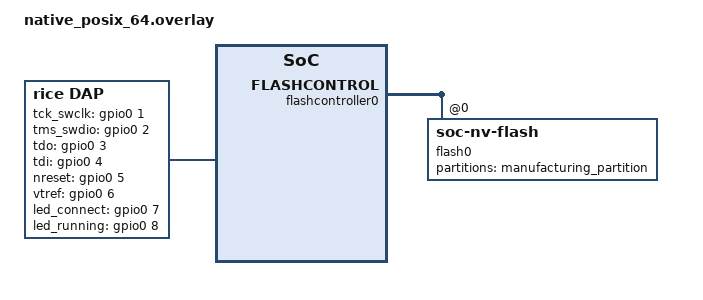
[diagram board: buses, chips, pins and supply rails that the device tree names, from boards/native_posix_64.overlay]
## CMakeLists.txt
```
cmake_minimum_required(VERSION 3.20.0)
set(PROJECT_DIR "${CMAKE_CURRENT_LIST_DIR}/../../../")

# native sim overlay
include("${CMAKE_CURRENT_LIST_DIR}/../boards/native_sim_64/native_sim_64.cmake")

find_package(Zephyr REQUIRED HINTS "${PROJECT_DIR}/firmware/modules/zephyr")
project(test_dap)

target_sources(app PRIVATE
    "../boards/native_sim_64/pinctrl/pinctrl_sim.c"
    "src/dap_io.c"
    "src/dap_emul.c"
    "src/dap_transport.c"
    "src/main.c"
    "src/test_general.c"
    "src/test_jtag.c"
    "src/test_swd.c"
    "src/test_swo.c"
    "src/test_transfer.c"
    "${PROJECT_DIR}/firmware/src/dap/dap.c"
    "${PROJECT_DIR}/firmware/src/dap/commands_general.c"
    "${PROJECT_DIR}/firmware/src/dap/commands_jtag.c"
    "${PROJECT_DIR}/firmware/src/dap/commands_swd.c"
    "${PROJECT_DIR}/firmware/src/dap/commands_swo.c"
    "${PROJECT_DIR}/firmware/src/dap/commands_transfer.c"
    "${PROJECT_DIR}/firmware/src/nvs.c"
)

target_include_directories(app PRIVATE
    "${PROJECT_DIR}/firmware/src"
    "${PROJECT_DIR}/firmware/tests"
)

target_compile_options(app PRIVATE -Wall -Werror -fanalyzer -save-temps=obj)

zephyr_linker_sources(DATA_SECTIONS
    "${PROJECT_DIR}/firmware/src/dap/transport.ld"
)
```

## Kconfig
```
config REPO_VERSION_STRING
    string "Repository semver-compatible version string"
    default "v987.654.321-99-ba5eba11-dirty"

config PRODUCT_MANUFACTURER
    string "Name of the product manufacturer"
    default "Nick Kraus"

config PRODUCT_DESCRIPTOR
    string "Short descriptor of the product"
    default "RICEProbe IO CMSIS-DAP"

config PRODUCT_SERIAL_FORMAT
    string "Defines the format and length of the product serial number"
    default "MMMM-YYWWNNNNNNC"

module = DAP
module-str = dap
source "subsys/logging/Kconfig.template.log_config"

source "Kconfig.zephyr"
```

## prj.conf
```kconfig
# Device Driver Configs

CONFIG_GPIO=y

CONFIG_FLASH=y
CONFIG_FLASH_MAP=y

CONFIG_PINCTRL=y
CONFIG_PINCTRL_DYNAMIC=y

CONFIG_SERIAL=y
CONFIG_UART_INTERRUPT_DRIVEN=y

# Kernel Configs

CONFIG_HEAP_MEM_POOL_SIZE=4096
CONFIG_RING_BUFFER=y

CONFIG_SYS_CLOCK_TICKS_PER_SEC=1000000

# Logging Configs

CONFIG_LOG=y
CONFIG_LOG_BACKEND_NATIVE_POSIX=y

# Test Configs

CONFIG_ZTEST=y
CONFIG_ZTEST_THREAD_PRIORITY=2

CONFIG_COVERAGE=y
```

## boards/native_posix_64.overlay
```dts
#include <dt-bindings/pinctrl/pinctrl_posix.h>

/ {    
    dap: dap {
        compatible = "rice,dap";

        tck_swclk_gpios = <&gpio0 1 GPIO_ACTIVE_HIGH>;
		tms_swdio_gpios = <&gpio0 2 GPIO_ACTIVE_HIGH>;
		tdo_gpios = <&gpio0 3 GPIO_ACTIVE_HIGH>;
		tdi_gpios = <&gpio0 4 GPIO_ACTIVE_HIGH>;
		nreset_gpios = <&gpio0 5 GPIO_ACTIVE_HIGH>;
		vtref_gpios = <&gpio0 6 (GPIO_ACTIVE_HIGH | GPIO_PULL_DOWN)>;
		led_connect_gpios = <&gpio0 7 GPIO_ACTIVE_HIGH>;
		led_running_gpios = <&gpio0 8 GPIO_ACTIVE_HIGH>;

        swo_uart = <&uart2>;

        pinctrl-jtag = <&tdo_swo_gpio>;
		pinctrl-swd = <&tdo_swo_uart>;
    };

    pinctrl: pinctrl {
        compatible = "vnd,pinctrl-test";

        /* dap tdo/swo */
        tdo_swo_gpio: pin3_gpio { group1 { pins = <POSIX_PINMUX(3, POSIX_PINMUX_FUNC_GPIO)>; }; };
        tdo_swo_uart: pin3_uart { group1 { pins = <POSIX_PINMUX(3, POSIX_PINMUX_FUNC_UART)>; }; };
    };

    uart2: uart2 {
        compatible = "zephyr,uart-emul";
		status = "okay";
		current-speed = <115200>;
		rx-fifo-size = <2048>;
		tx-fifo-size = <256>;
    };
};

&flashcontroller0 {
    /delete-node/ flash@0;

    flash0: flash@0 {
        status = "okay";
        compatible = "soc-nv-flash";
        erase-block-size = <1>;
        write-block-size = <1>;
        reg = <0x0 0x200>;

        partitions {
            compatible = "fixed-partitions";
            #address-cells = <1>;
            #size-cells = <1>;

            manufacturing_partition: partition@0 {
                reg = <0x0 0x200>;
                read-only;
            };
        };
    };
};

&gpio0 {
	ngpios = <9>;
};
```

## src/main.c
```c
#include <zephyr/storage/flash_map.h>
#include <zephyr/kernel.h>
#include <zephyr/ztest.h>

#include "dap_io.h"
#include "dap_emul.h"
#include "dap_transport.h"
#include "util/gpio.h"

static uint8_t nvs_data[] = {
    /* manufacturing tag (0x7A5A, little-endian) */
    0x5A, 0x7A,
    /* manufacturing data version (0x0101, little-endian) */
    0x01, 0x01,
    /* serial number */
    'R', 'P', 'B', '1', '-', '2', '0', '0',
    '0', '1', '2', '3', '4', '5', '6', 'I',
    0, 0, 0, 0, 0, 0, 0, 0,
    0, 0, 0, 0, 0, 0, 0, 0, 
    /* uuid */
    0x20, 0xA0, 0x2F, 0xC2, 0xA7, 0x91, 0x41, 0x4B,
    0xBB, 0x66, 0xC6, 0x40, 0x7E, 0x78, 0xA7, 0x10,
};

int32_t nvs_init(void);
int32_t dap_init(void);

static void *dap_tests_setup(void) {
    const struct flash_area *fa;
    zassert_ok(flash_area_open(FIXED_PARTITION_ID(manufacturing_partition), &fa));
    zassert_ok(flash_area_erase(fa, 0, sizeof(nvs_data)));
    zassert_ok(flash_area_write(fa, 0, nvs_data, sizeof(nvs_data)));
    flash_area_close(fa);

    dap_emul_init();

    zassert_ok(nvs_init());
    zassert_ok(dap_init());

    /* make sure the test transport has been selected by the time the test runs */
    k_sleep(K_MSEC(100));

    return NULL;
}

static void dap_tests_before(void *fixture) {
    /* no mode (swd / jtag) configured */
    assert_dap_command_expect("\x03", "\x03\x00");
    /* target reference voltage low */
    assert_gpio_emul_input_set(dap_io_vtref, 0);
    /* target emulator disabled */
    dap_emul_end();
}

ZTEST_SUITE(dap, NULL, dap_tests_setup, dap_tests_before, NULL, NULL);
```

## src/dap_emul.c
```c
#include <zephyr/drivers/gpio.h>
#include <zephyr/drivers/gpio/gpio_emul.h>
#include <zephyr/kernel.h>
#include <zephyr/ztest.h>

#include "dap_io.h"

static struct {
    struct gpio_callback cb;
    uint16_t clk_cycles;
    /* last clock rising edge measured in nanoseconds */
    uint64_t last_clk_cycle;
    /* average clock period measured in nanoseconds */
    uint64_t clk_period_avg;
    /* bitstream of tms/swdio direction (0 = output, 1 = input) */
    uint8_t tms_swdio_dir[128];
    /* bitstream of data input to tms/swdio probe io */
    uint8_t tms_swdio_in[128];
    /* bitstream of captured output data from tms/swdio probe io */
    uint8_t tms_swdio_out[128];
    /* bitstream of captured output data from tdi probe io */
    uint8_t tdi_out[128];
    /* bitstream of data input to tdo probe io */
    uint8_t tdo_in[128];
} dap_emul;

static void dap_emul_handler(const struct device *port, struct gpio_callback *cb, gpio_port_pins_t pins) {
    /* only track sequences up to 1024 cycles, to keep buffers to a reasonable size. */
    if (dap_emul.clk_cycles >= 1024) return;

    uint16_t bitstream_byte_idx = dap_emul.clk_cycles / 8;
    uint8_t bitstream_bit_idx = dap_emul.clk_cycles % 8;

    gpio_flags_t flags;
    gpio_emul_flags_get(dap_io_tms_swdio->port, dap_io_tms_swdio->pin, &flags);
    bool swdio_output = (flags & GPIO_OUTPUT) == GPIO_OUTPUT ? true : false;

    /* in a standard JTAG device, TMS and TDI are sampled on the rising edge of TCK, and TDO changes on
     * the falling edge to TCK. */
    if (gpio_pin_get_dt(dap_io_tck_swclk) == 1) {
        /* rising edge */

        /* calculate new average clock period, but make sure to keep the average consistent if the period does not change,
        * so that compounding rounding errors don't cause problems */
        uint64_t new_clk = k_ticks_to_ns_floor64(k_uptime_ticks());
        if (dap_emul.last_clk_cycle != 0) {
            uint64_t this_clk_period = new_clk - dap_emul.last_clk_cycle;
            if (this_clk_period != dap_emul.clk_period_avg) {
                uint64_t prev_avg = dap_emul.clk_period_avg * (dap_emul.clk_cycles - 1);
                dap_emul.clk_period_avg = (prev_avg + this_clk_period) / (dap_emul.clk_cycles);
            }
        }
        dap_emul.last_clk_cycle = new_clk;

        /* record the values of all probe outputs */
        dap_emul.tms_swdio_dir[bitstream_byte_idx] |= (swdio_output ? 0 : 1) << bitstream_bit_idx;
        dap_emul.tms_swdio_out[bitstream_byte_idx] |= gpio_pin_get_dt(dap_io_tms_swdio) << bitstream_bit_idx;
        dap_emul.tdi_out[bitstream_byte_idx] |= gpio_pin_get_dt(dap_io_tdi) << bitstream_bit_idx;
        dap_emul.clk_cycles++;
    } else {
        /* falling edge */

        /* set all probe input values */
        gpio_port_value_t tdo = (dap_emul.tdo_in[bitstream_byte_idx] >> bitstream_bit_idx) & 1;
        gpio_emul_input_set(dap_io_tdo->port, dap_io_tdo->pin, tdo);

        if (!swdio_output) {
            gpio_port_value_t swdio = (dap_emul.tms_swdio_in[bitstream_byte_idx] >> bitstream_bit_idx) & 1;
            gpio_emul_input_set(dap_io_tms_swdio->port, dap_io_tms_swdio->pin, swdio);
        }
    }
}

void dap_emul_init(void) {
    gpio_init_callback(&dap_emul.cb, dap_emul_handler, BIT(dap_io_tck_swclk->pin));
}

void dap_emul_reset(void) {
    dap_emul.clk_cycles = 0;
    dap_emul.last_clk_cycle = 0;
    dap_emul.clk_period_avg = 0;
    memset(dap_emul.tms_swdio_dir, 0, sizeof(dap_emul.tms_swdio_dir));
    memset(dap_emul.tms_swdio_in, 0, sizeof(dap_emul.tms_swdio_in));
    memset(dap_emul.tms_swdio_out, 0, sizeof(dap_emul.tms_swdio_out));
    memset(dap_emul.tdi_out, 0, sizeof(dap_emul.tdi_out));
    memset(dap_emul.tdo_in, 0, sizeof(dap_emul.tdo_in));
}

void dap_emul_start(void) {
    dap_emul_reset();

    gpio_pin_interrupt_configure_dt(dap_io_tck_swclk, GPIO_INT_EDGE_BOTH);
    gpio_add_callback_dt(dap_io_tck_swclk, &dap_emul.cb);
}

void dap_emul_end(void) {
    gpio_pin_interrupt_configure_dt(dap_io_tck_swclk, GPIO_INT_DISABLE);
    gpio_remove_callback_dt(dap_io_tck_swclk, &dap_emul.cb);
}

void dap_emul_set_tdo_in(uint8_t *data, size_t len) {
    memcpy(dap_emul.tdo_in, (void *) data, MIN(len, sizeof(dap_emul.tdo_in)));
}

void dap_emul_set_tms_swdio_in(uint8_t *data, size_t len) {
    memcpy(dap_emul.tms_swdio_in, (void *) data, MIN(len, sizeof(dap_emul.tms_swdio_in)));
}

uint16_t dap_emul_get_clk_cycles(void) {
    return dap_emul.clk_cycles;
}

uint64_t dap_emul_get_avg_clk_period(void) {
    return dap_emul.clk_period_avg;
}

uint8_t* dap_emul_get_tms_swdio_dir(void) {
    return dap_emul.tms_swdio_dir;
}

uint8_t* dap_emul_get_tms_swdio_out(void) {
    return dap_emul.tms_swdio_out;
}

uint8_t* dap_emul_get_tdi_out(void) {
    return dap_emul.tdi_out;
}
```

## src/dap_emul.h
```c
#ifndef __DAP_EMUL_H__
#define __DAP_EMUL_H__

#include <string.h>

/* initialize emulator data structures */
void dap_emul_init(void);

/* reset emulator internal state */
void dap_emul_reset(void);

/* (reset internal state and) start emulator */
void dap_emul_start(void);

/* ends emulator run */
void dap_emul_end(void);

/* set tdo data to be sent to probe input (default 0) */
void dap_emul_set_tdo_in(uint8_t *data, size_t len);

/* set tms/swdio data to be sent to probe input (defualt 0) */
void dap_emul_set_tms_swdio_in(uint8_t *data, size_t len);

/* returns values from the current emulator run, but preferred to use the assertion helpers below */
uint16_t dap_emul_get_clk_cycles(void);
uint64_t dap_emul_get_avg_clk_period(void);
uint8_t* dap_emul_get_tms_swdio_dir(void);
uint8_t* dap_emul_get_tms_swdio_out(void);
uint8_t* dap_emul_get_tdi_out(void);

#define assert_dap_emul_clk_cycles(_exp)                                                                \
    zassert(                                                                                            \
        dap_emul_get_clk_cycles() == _exp,                                                              \
        "dap_emul_get_clk_cycles() not equal to " #_exp,                                                \
        "\t\e[0;31m%u received clock cycles, expected %u\e[0m\n",                                       \
        dap_emul_get_clk_cycles(), _exp                                                                 \
    )

#define assert_dap_emul_clk_period(_exp)                                                                \
    /* a little bit of play for any rounding issues */                                                  \
    zassert_between_inclusive(dap_emul_get_avg_clk_period(), _exp - 1, _exp + 1)

/* always expects '_exp' in string forms, so make sure to skip the null terminator when calculating size. */
#define assert_dap_emul_tms_swdio_dir(_exp)                                                             \
    do {                                                                                                \
        uint8_t exp[] = _exp;                                                                           \
        if (memcmp(dap_emul_get_tms_swdio_dir(), exp, sizeof(_exp) - 1) != 0) {                         \
            hex_diff_printk(dap_emul_get_tms_swdio_dir(), exp, sizeof(_exp) - 1);                       \
            zassert(false, "\e[0;31mio direction of tms/swdio does not match expected values\e[0m\n");  \
        }                                                                                               \
    } while (0)

/* always expects '_exp' in string forms, so make sure to skip the null terminator when calculating size. */
#define assert_dap_emul_tms_swdio_out(_exp)                                                             \
    do {                                                                                                \
        uint8_t exp[] = _exp;                                                                           \
        if (memcmp(dap_emul_get_tms_swdio_out(), exp, sizeof(_exp) - 1) != 0) {                         \
            hex_diff_printk(dap_emul_get_tms_swdio_out(), exp, sizeof(_exp) - 1);                       \
            zassert(false, "\e[0;31mdata output on tms/swdio does not match expected values\e[0m\n");   \
        }                                                                                               \
    } while (0)

/* always expects '_exp' in string forms, so make sure to skip the null terminator when calculating size. */
#define assert_dap_emul_tdi_out(_exp)                                                                   \
    do {                                                                                                \
        uint8_t exp[] = _exp;                                                                           \
        if (memcmp(dap_emul_get_tdi_out(), exp, sizeof(_exp) - 1) != 0) {                               \
            hex_diff_printk(dap_emul_get_tdi_out(), exp, sizeof(_exp) - 1);                             \
            zassert(false, "\e[0;31mdata output on tdi does not match expected values\e[0m\n");         \
        }                                                                                               \
    } while (0)

#endif /* __DAP_EMUL_H__ */
```

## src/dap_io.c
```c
#include <zephyr/drivers/gpio.h>

struct gpio_dt_spec *dap_io_tck_swclk = &(struct gpio_dt_spec) GPIO_DT_SPEC_GET(DT_NODELABEL(dap), tck_swclk_gpios);
struct gpio_dt_spec *dap_io_tms_swdio = &(struct gpio_dt_spec) GPIO_DT_SPEC_GET(DT_NODELABEL(dap), tms_swdio_gpios);
struct gpio_dt_spec *dap_io_tdo = &(struct gpio_dt_spec) GPIO_DT_SPEC_GET(DT_NODELABEL(dap), tdo_gpios);
struct gpio_dt_spec *dap_io_tdi = &(struct gpio_dt_spec) GPIO_DT_SPEC_GET(DT_NODELABEL(dap), tdi_gpios);
struct gpio_dt_spec *dap_io_nreset = &(struct gpio_dt_spec) GPIO_DT_SPEC_GET(DT_NODELABEL(dap), nreset_gpios);
struct gpio_dt_spec *dap_io_vtref = &(struct gpio_dt_spec) GPIO_DT_SPEC_GET(DT_NODELABEL(dap), vtref_gpios);
struct gpio_dt_spec *dap_io_led_connect = &(struct gpio_dt_spec) GPIO_DT_SPEC_GET(DT_NODELABEL(dap), led_connect_gpios);
struct gpio_dt_spec *dap_io_led_running = &(struct gpio_dt_spec) GPIO_DT_SPEC_GET(DT_NODELABEL(dap), led_running_gpios);

const struct device *dap_swo_uart = DEVICE_DT_GET(DT_PHANDLE(DT_NODELABEL(dap), swo_uart));
```

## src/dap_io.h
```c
#ifndef __DAP_IO_H__
#define __DAP_IO_H__

#include <zephyr/drivers/gpio.h>

extern struct gpio_dt_spec *dap_io_tck_swclk;
extern struct gpio_dt_spec *dap_io_tms_swdio;
extern struct gpio_dt_spec *dap_io_tdo;
extern struct gpio_dt_spec *dap_io_tdi;
extern struct gpio_dt_spec *dap_io_nreset;
extern struct gpio_dt_spec *dap_io_vtref;
extern struct gpio_dt_spec *dap_io_led_connect;
extern struct gpio_dt_spec *dap_io_led_running;

extern const struct device *dap_swo_uart;

#endif /* __DAP_IO_H__ */
```

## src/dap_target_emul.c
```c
#include <zephyr/drivers/gpio.h>
#include <zephyr/drivers/gpio/gpio_emul.h>
#include <zephyr/kernel.h>
#include <zephyr/ztest.h>

#include "dap_io.h"

static struct {
    struct gpio_callback cb;
    uint16_t clk_cycles;
    /* last clock rising edge measured in nanoseconds */
    uint64_t last_clk_cycle;
    /* average clock period measured in nanoseconds */
    uint64_t clk_period_avg;
    /* bitstream of tms/swdio input data from probe */
    uint8_t tms_swdio_in[128];
    /* bitstream of tdi values input data from probe */
    uint8_t tdi_in[128];
    // /* bitstream of tdo values output data to probe */
    uint8_t tdo_out[128];
} dap_target_emul;

static void dap_target_emul_handler(const struct device *port, struct gpio_callback *cb, gpio_port_pins_t pins) {
    /* only track sequences up to 1024 cycles, to keep buffers to a reasonable size. */
    if (dap_target_emul.clk_cycles >= 1024) return;

    uint16_t bitstream_byte_idx = dap_target_emul.clk_cycles / 8;
    uint8_t bitstream_bit_idx = dap_target_emul.clk_cycles % 8;

    /* in a standard JTAG device, TMS and TDI are sampled on the rising edge of TCK, and TDO changes on
     * the falling edge to TCK. */
    if (gpio_pin_get_dt(dap_io_tck_swclk) == 1) {
        /* rising edge */

        /* calculate new average clock period, but make sure to keep the average consistent if the period does not change,
        * so that compounding rounding errors don't cause problems */
        uint64_t new_clk = k_ticks_to_ns_floor64(k_uptime_ticks());
        if (dap_target_emul.last_clk_cycle != 0) {
            uint64_t this_clk_period = new_clk - dap_target_emul.last_clk_cycle;
            if (this_clk_period != dap_target_emul.clk_period_avg) {
                uint64_t prev_avg = dap_target_emul.clk_period_avg * (dap_target_emul.clk_cycles - 1);
                dap_target_emul.clk_period_avg = (prev_avg + this_clk_period) / (dap_target_emul.clk_cycles);
            }
        }
        dap_target_emul.last_clk_cycle = new_clk;
        
        /* record all input values set from probe */
        dap_target_emul.tms_swdio_in[bitstream_byte_idx] |= gpio_pin_get_dt(dap_io_tms_swdio) << bitstream_bit_idx;
        dap_target_emul.tdi_in[bitstream_byte_idx] |= gpio_pin_get_dt(dap_io_tdi) << bitstream_bit_idx;
        dap_target_emul.clk_cycles++;
    } else {
        /* falling edge */

        /* emulate all target output values */
        gpio_port_value_t tdo = (dap_target_emul.tdo_out[bitstream_byte_idx] >> bitstream_bit_idx) & 1;
        gpio_emul_input_set(dap_io_tdo->port, dap_io_tdo->pin, tdo);
    }
}

void dap_target_emul_init(void) {
    gpio_init_callback(&dap_target_emul.cb, dap_target_emul_handler, BIT(dap_io_tck_swclk->pin));
}

void dap_target_emul_reset(void) {
    dap_target_emul.clk_cycles = 0;
    dap_target_emul.last_clk_cycle = 0;
    dap_target_emul.clk_period_avg = 0;
    memset(dap_target_emul.tms_swdio_in, 0, sizeof(dap_target_emul.tms_swdio_in));
    memset(dap_target_emul.tdi_in, 0, sizeof(dap_target_emul.tdi_in));
    memset(dap_target_emul.tdo_out, 0, sizeof(dap_target_emul.tdo_out));
}

void dap_target_emul_start(void) {
    dap_target_emul_reset();

    gpio_pin_interrupt_configure_dt(dap_io_tck_swclk, GPIO_INT_EDGE_BOTH);
    gpio_add_callback_dt(dap_io_tck_swclk, &dap_target_emul.cb);
}

void dap_target_emul_end(void) {
    gpio_pin_interrupt_configure_dt(dap_io_tck_swclk, GPIO_INT_DISABLE);
    gpio_remove_callback_dt(dap_io_tck_swclk, &dap_target_emul.cb);
}

void dap_target_emul_set_tdo_out(uint8_t *data, size_t len) {
    memcpy(dap_target_emul.tdo_out, (void *) data, MIN(len, sizeof(dap_target_emul.tdo_out)));
}

uint16_t dap_target_emul_clk_cycles(void) {
    return dap_target_emul.clk_cycles;
}

uint64_t dap_target_emul_avg_clk_period(void) {
    return dap_target_emul.clk_period_avg;
}

uint8_t* dap_target_emul_tms_swdio_in(void) {
    return dap_target_emul.tms_swdio_in;
}

uint8_t* dap_target_emul_tdi_in(void) {
    return dap_target_emul.tdi_in;
}
```

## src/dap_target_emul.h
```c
#ifndef __DAP_TARGET_EMUL_H__
#define __DAP_TARGET_EMUL_H__

#include <string.h>

/* initialize target emulator data structures */
void dap_target_emul_init(void);

/* reset target emulator internal state */
void dap_target_emul_reset(void);

/* (reset internal state and) start target emulator */
void dap_target_emul_start(void);

/* ends target emulator run */
void dap_target_emul_end(void);

/* set tdo output data for target to probe during emulation (default 0) */
void dap_target_emul_set_tdo_out(uint8_t *data, size_t len);

/* returns values from the current emulator run, but preferred to use the assertion helpers below */
uint16_t dap_target_emul_clk_cycles(void);
uint64_t dap_target_emul_avg_clk_period(void);
uint8_t* dap_target_emul_tms_swdio_in(void);
uint8_t* dap_target_emul_tdi_in(void);

#define assert_dap_target_clk_cycles_equal(_exp)                                                \
    zassert(                                                                                    \
        dap_target_emul_clk_cycles() == _exp,                                                   \
        "dap_target_emul_clk_cycles() not equal to " #_exp,                                     \
        "\t\e[0;31m%u received clock cycles, expected %u\e[0m\n",                               \
        dap_target_emul_clk_cycles(), _exp                                                      \
    )

#define assert_dap_target_clk_period_equal(_exp)                                                \
    /* a little bit of play for any rounding issues */                                          \
    zassert_between_inclusive(dap_target_emul_avg_clk_period(), _exp - 1, _exp + 1)

/* always expects '_exp' in string forms, so make sure to skip the null terminator when calculating size. */
#define assert_dap_target_tms_swdio_equal(_exp)                                                 \
    do {                                                                                        \
        uint8_t exp[] = _exp;                                                                   \
        if (memcmp(dap_target_emul_tms_swdio_in(), exp, sizeof(_exp) - 1) != 0) {               \
            hex_diff_printk(dap_target_emul_tms_swdio_in(), exp, sizeof(_exp) - 1);             \
            zassert(false, "\e[0;31mtms/swdio capture does not match expected values\e[0m\n");  \
        }                                                                                       \
    } while (0)

/* always expects '_exp' in string forms, so make sure to skip the null terminator when calculating size. */
#define assert_dap_target_tdi_equal(_exp)                                                       \
    do {                                                                                        \
        uint8_t exp[] = _exp;                                                                   \
        if (memcmp(dap_target_emul_tdi_in(), exp, sizeof(_exp) - 1) != 0) {                     \
            hex_diff_printk(dap_target_emul_tdi_in(), exp, sizeof(_exp) - 1);                   \
            zassert(false, "\e[0;31mtdi capture does not match expected values\e[0m\n");        \
        }                                                                                       \
    } while (0)

#endif /* __DAP_TARGET_EMUL_H__ */
```

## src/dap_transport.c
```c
#include <zephyr/kernel.h>
#include <zephyr/ztest.h>

#include "dap/transport.h"

static int32_t dap_transport_init(void) {
    return 0;
}

static int32_t dap_transport_configure(void) {
    return 0;
}

static uint8_t buf[KB(3)];
static size_t buf_len;

/* a test request is available and the transport_recv function can continue */
static K_SEM_DEFINE(request_available, 0, 1);
static int32_t dap_transport_recv(uint8_t *recv, size_t len) {
    k_sem_take(&request_available, K_FOREVER);

    zassert(len > buf_len, "requested command length greater than available space");
    memcpy(recv, buf, buf_len);

    return buf_len;
}

static K_SEM_DEFINE(response_available, 0, 1);
static int32_t dap_transport_send(uint8_t *send, size_t len) {
    /* we should be all set with the request data in the buffer at this point */
    buf_len = len;
    memcpy(buf, send, len);

    k_sem_give(&response_available);

    return len;
}

DAP_TRANSPORT_DEFINE(
    dap_transport,
    dap_transport_init,
    dap_transport_configure,
    dap_transport_recv,
    dap_transport_send
);

void dap_transport_command(uint8_t *request, size_t request_len, uint8_t **response, size_t *response_len) {
    buf_len = request_len;
    memcpy(buf, request, request_len);
    k_sem_give(&request_available);

    /* queued commands will never call the send function, since no response has been created, but we
     * want to make sure it isn't called, so wait for a reasonable timeout and then return no data. */
    if (k_sem_take(&response_available, K_SECONDS(1)) == -EAGAIN) {
        *response_len = 0;
    } else {
        *response_len = buf_len;
    }
    *response = buf;
}
```

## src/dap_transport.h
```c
#ifndef __DAP_TRANSPORT_H__
#define __DAP_TRANSPORT_H__

#include <zephyr/ztest.h>

#include "util/print.h"

void dap_transport_command(uint8_t *request, size_t request_len, uint8_t **response, size_t *response_len);

/* always expects '_request' and '_expect' in string forms, so make sure to skip
 * the null terminator when calculating size. */
#define assert_dap_command_expect(_request, _expect)                                    \
    do {                                                                                \
        uint8_t req[] = _request;                                                       \
        uint8_t *resp;                                                                  \
        size_t resp_len;                                                                \
        dap_transport_command(req, sizeof(req) - 1, &resp, &resp_len);                  \
        uint8_t exp[] = _expect;                                                        \
        if (memcmp(resp, exp, MIN(sizeof(exp) - 1, resp_len)) != 0) {                   \
            hex_diff_printk(resp, exp, MIN(sizeof(exp) - 1, resp_len));                 \
            zassert(false, "\e[0;31mresponse does not match expected value\e[0m\n");    \
        }                                                                               \
    } while (0)

#endif /* __DAP_TRANSPORT_H__ */
```

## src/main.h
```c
#ifndef __MAIN_H__
#define __MAIN_H__

#include <zephyr/drivers/gpio.h>

#include "tests/util.h"

struct dap_fixture {
    struct {
        struct gpio_dt_spec tck_swclk;
        struct gpio_dt_spec tms_swdio;
        struct gpio_dt_spec tdo;
        struct gpio_dt_spec tdi;
        struct gpio_dt_spec nreset;
        struct gpio_dt_spec vtref;
        struct gpio_dt_spec led_connect;
        struct gpio_dt_spec led_running;
    } io;
};

void dap_configure(bool enable);
void dap_command(uint8_t *request, size_t request_len, uint8_t **response, size_t *response_len);

/* always expects '_request' and '_expect' in string forms, so make sure to pass on
 * their null terminator when calculating size. */
#define zassert_dap_command_expect(_request, _expect)                                   \
    do {                                                                                \
        uint8_t req[] = _request;                                                       \
        uint8_t *resp;                                                                  \
        size_t resp_len;                                                                \
        dap_command(req, sizeof(req) - 1, &resp, &resp_len);                            \
        uint8_t exp[] = _expect;                                                        \
        if (memcmp(resp, exp, MIN(sizeof(exp) - 1, resp_len)) != 0) {                   \
            hex_diff_printk(resp, exp, MIN(sizeof(exp) - 1, resp_len));                 \
            zassert(false, "\e[0;31mresponse does not match expected value\e[0m\n");    \
        }                                                                               \
    } while(0)

#endif /* __MAIN_H__ */
```

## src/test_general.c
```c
#include <pinctrl_soc.h>
#include <zephyr/drivers/gpio/gpio_emul.h>
#include <zephyr/ztest.h>

#include "dap_emul.h"
#include "dap_transport.h"
#include "dap_io.h"
#include "util/gpio.h"

ZTEST(dap, test_info_command) {
    /* product vendor name */
    assert_dap_command_expect("\x00\x01", "\x00\x0b" "Nick Kraus\0");
    /* product description */
    assert_dap_command_expect("\x00\x02", "\x00\x17" "RICEProbe IO CMSIS-DAP\0");
    /* product serial number */
    assert_dap_command_expect("\x00\x03", "\x00\x11" "RPB1-2000123456I\0");
    /* CMSIS-DAP protocol version */
    assert_dap_command_expect("\x00\x04", "\x00\x06" "2.1.1\0");
    /* target device vendor and name, and target board vendor and name are all empty */
    assert_dap_command_expect("\x00\x05", "\x00\x00");
    assert_dap_command_expect("\x00\x06", "\x00\x00");
    assert_dap_command_expect("\x00\x07", "\x00\x00");
    assert_dap_command_expect("\x00\x08", "\x00\x00");
    /* product firmware version */
    assert_dap_command_expect("\x00\x09", "\x00\x1f" "v987.654.321-99-ba5eba11-dirty\0");
    /* CMSIS-DAP capabilities */
    assert_dap_command_expect("\x00\xf0", "\x00\x01\x57");
    /* test domain timer unsupported, uses the default unused value */
    assert_dap_command_expect("\x00\xf1", "\x00\x08\x00\x00\x00\x00");
    /* uart rx and tx buffer size */
    assert_dap_command_expect("\x00\xfb", "\x00\x04\x00\x04\x00\x00");
    assert_dap_command_expect("\x00\xfc", "\x00\x04\x00\x04\x00\x00");
    /* swo trace buffer size */
    assert_dap_command_expect("\x00\xfd", "\x00\x04\x00\x08\x00\x00");
    /* usb packet size */
    assert_dap_command_expect("\x00\xff", "\x00\x02\x00\x02");
    /* usb packet count */
    assert_dap_command_expect("\x00\xfe", "\x00\x01\x04");

    /* unsupported info id returns a length of 0 */
    assert_dap_command_expect("\x00\xbb", "\x00\x00");
    /* incomplete info command */
    assert_dap_command_expect("\x00", "\xff");
}

ZTEST(dap, test_host_status) {
    /* both LEDs start off */
    assert_gpio_emul_output_val(dap_io_led_connect, 0);
    assert_gpio_emul_output_val(dap_io_led_running, 0);

    /* connected LED remains on forever when enabled */
    assert_dap_command_expect("\x01\x00\x01", "\x01\x00");
    assert_gpio_emul_output_val(dap_io_led_connect, 1);
    assert_dap_command_expect("\x01\x00\x00", "\x01\x00");
    assert_gpio_emul_output_val(dap_io_led_connect, 0);

    /* running LED blinks at 0.5Hz when enabled */
    assert_dap_command_expect("\x01\x01\x01", "\x01\x00");
    k_sleep(K_MSEC(100));
    assert_gpio_emul_output_val(dap_io_led_running, 1);
    k_sleep(K_MSEC(500));
    assert_gpio_emul_output_val(dap_io_led_running, 0);
    k_sleep(K_MSEC(500));
    assert_gpio_emul_output_val(dap_io_led_running, 1);
    assert_dap_command_expect("\x01\x01\x00", "\x01\x00");
    assert_gpio_emul_output_val(dap_io_led_running, 0);

    /* unsupported LED type or status will report an error */
    assert_dap_command_expect("\x01\x02\x00", "\x01\xff");
    assert_dap_command_expect("\x01\x00\x02", "\x01\xff");

    /* incomplete command request */
    assert_dap_command_expect("\x01\x01", "\xff");
}

ZTEST(dap, test_delay) {
    uint32_t start, elapsed;

    /* 60,000 uS delay */
    start = k_uptime_get_32();
    assert_dap_command_expect("\x09\x60\xea", "\x09\x00");
    elapsed = k_uptime_get_32() - start;
    zassert_between_inclusive(elapsed, 59, 61);

    /* 30,000 uS delay */
    start = k_uptime_get_32();
    assert_dap_command_expect("\x09\x30\x75", "\x09\x00");
    elapsed = k_uptime_get_32() - start;
    zassert_between_inclusive(elapsed, 29, 31);

    /* incomplete command request */
    assert_dap_command_expect("\x09\x00", "\xff");
}

ZTEST(dap, test_reset_target) {
    /* currently a no-op, but make sure the command reports success */
    assert_dap_command_expect("\x0a", "\x0a\x00\x00");
}

ZTEST(dap, test_disconnect_connect) {
    /* when disconnected, all pins should not be configured as outputs */
    assert_dap_command_expect("\x03", "\x03\x00");
    assert_gpio_emul_not_flag(dap_io_tck_swclk, GPIO_OUTPUT);
    assert_gpio_emul_not_flag(dap_io_tms_swdio, GPIO_OUTPUT);
    assert_gpio_emul_not_flag(dap_io_tdo, GPIO_OUTPUT);
    assert_gpio_emul_not_flag(dap_io_tdi, GPIO_OUTPUT);
    assert_gpio_emul_not_flag(dap_io_nreset, GPIO_OUTPUT);
    /* tdo/swo (io #2) pinctrl function should be GPIO */
    assert_pinctrl_sim_func(2, SIM_PINMUX_FUNC_GPIO);

    /* dap interface should not connect if no voltage is present on vtref */
    assert_gpio_emul_input_set(dap_io_vtref, 0);
    assert_dap_command_expect("\x02\x01", "\x02\x00");
    assert_dap_command_expect("\x02\x02", "\x02\x00");
    assert_gpio_emul_input_set(dap_io_vtref, 1);

    /* SWD mode pin configurations */
    assert_dap_command_expect("\x02\x01", "\x02\x01");
    /* SWCLK is output */
    assert_gpio_emul_has_flag(dap_io_tck_swclk, GPIO_OUTPUT);
    /* SWDIO is output */
    assert_gpio_emul_has_flag(dap_io_tms_swdio, GPIO_OUTPUT);
    /* TDI is (unused) input */
    assert_gpio_emul_not_flag(dap_io_tdi, GPIO_OUTPUT);
    /* reset is output */
    assert_gpio_emul_has_flag(dap_io_nreset, GPIO_OUTPUT);
    /* tdo/swo (io #2) pinctrl function should be UART */
    assert_pinctrl_sim_func(2, SIM_PINMUX_FUNC_UART);
    assert_dap_command_expect("\x03", "\x03\x00");

    /* JTAG mode pin configurations */
    assert_dap_command_expect("\x02\x02", "\x02\x02");
    /* TCK is output */
    assert_gpio_emul_has_flag(dap_io_tck_swclk, GPIO_OUTPUT);
    /* TMS is output */
    assert_gpio_emul_has_flag(dap_io_tms_swdio, GPIO_OUTPUT);
    /* TDI is output */
    assert_gpio_emul_has_flag(dap_io_tdi, GPIO_OUTPUT);
    /* tdo/swo (io #2) pinctrl function should be GPIO */
    assert_pinctrl_sim_func(2, SIM_PINMUX_FUNC_GPIO);
    /* TDO is input */
    assert_gpio_emul_not_flag(dap_io_tdo, GPIO_OUTPUT);
    /* reset is output */
    assert_gpio_emul_has_flag(dap_io_nreset, GPIO_OUTPUT);
    assert_dap_command_expect("\x03", "\x03\x00");

    /* some host software (probe-rs is an exapmle) will tell the probe to enter its default mode while
     * expecting it to end in SWD mode, without verifying, so ensure the default mode is SWD */
    assert_dap_command_expect("\x02\x00", "\x02\x01");

    /* unsupported ports should respond with a failure */
    assert_dap_command_expect("\x02\x03", "\x02\x00");

    /* incomplete command request */
    assert_dap_command_expect("\x02", "\xff");
}

ZTEST(dap, test_swj_pins) {
    /* start in JTAG mode, where all pins but TDO are output */
    assert_gpio_emul_input_set(dap_io_vtref, 1);
    assert_dap_command_expect("\x02\x02", "\x02\x02");
    /* make sure to start with all pins, input or output, low */
    assert_gpio_emul_input_set(dap_io_tdo, 0);
    assert_dap_command_expect("\x10\x00\xff\xff\xff\x00\x00", "\x10\x00");
    
    /* TCK / SWCLK pin */
    assert_dap_command_expect("\x10\x01\x01\xff\xff\x00\x00", "\x10\x01");
    assert_gpio_emul_output_val(dap_io_tck_swclk, 1);
    assert_dap_command_expect("\x10\xfe\xfe\xff\xff\x00\x00", "\x10\x87");
    assert_gpio_emul_output_val(dap_io_tck_swclk, 1);
    assert_dap_command_expect("\x10\x00\x01\xff\xff\x00\x00", "\x10\x86");
    assert_gpio_emul_output_val(dap_io_tck_swclk, 0);
    assert_dap_command_expect("\x10\x00\xff\xff\xff\x00\x00", "\x10\x00");

    /* TMS / SWDIO pin */
    assert_dap_command_expect("\x10\x02\x02\xff\xff\x00\x00", "\x10\x02");
    assert_gpio_emul_output_val(dap_io_tms_swdio, 1);
    assert_dap_command_expect("\x10\xfd\xfd\xff\xff\x00\x00", "\x10\x87");
    assert_gpio_emul_output_val(dap_io_tms_swdio, 1);
    assert_dap_command_expect("\x10\x00\x02\xff\xff\x00\x00", "\x10\x85");
    assert_gpio_emul_output_val(dap_io_tms_swdio, 0);
    assert_dap_command_expect("\x10\x00\xff\xff\xff\x00\x00", "\x10\x00");

    /* TDI pin */
    assert_dap_command_expect("\x10\x04\x04\xff\xff\x00\x00", "\x10\x04");
    assert_gpio_emul_output_val(dap_io_tdi, 1);
    assert_dap_command_expect("\x10\xfb\xfb\xff\xff\x00\x00", "\x10\x87");
    assert_gpio_emul_output_val(dap_io_tdi, 1);
    assert_dap_command_expect("\x10\x00\x04\xff\xff\x00\x00", "\x10\x83");
    assert_gpio_emul_output_val(dap_io_tdi, 0);
    assert_dap_command_expect("\x10\x00\xff\xff\xff\x00\x00", "\x10\x00");

    /* nRESET pin */
    assert_dap_command_expect("\x10\x80\x80\xff\xff\x00\x00", "\x10\x80");
    assert_gpio_emul_output_val(dap_io_nreset, 1);
    assert_dap_command_expect("\x10\x7f\x7f\xff\xff\x00\x00", "\x10\x87");
    assert_gpio_emul_output_val(dap_io_nreset, 1);
    assert_dap_command_expect("\x10\x00\x80\xff\xff\x00\x00", "\x10\x07");
    assert_gpio_emul_output_val(dap_io_nreset, 0);
    assert_dap_command_expect("\x10\x00\xff\xff\xff\x00\x00", "\x10\x00");

    /* TDO pin */
    assert_gpio_emul_input_set(dap_io_tdo, 1);
    assert_dap_command_expect("\x10\x00\xff\xff\xff\x00\x00", "\x10\x08");

    /* incomplete command request */
    assert_dap_command_expect("\x10", "\xff");
    assert_dap_command_expect("\x10\x00", "\xff");
    assert_dap_command_expect("\x10\x00\xff\xff", "\xff");
}

ZTEST(dap, test_swj_clock_sequence) {
    /* need to be configured as either swd or jtag for tck/swclk output */
    assert_gpio_emul_input_set(dap_io_vtref, 1);
    assert_dap_command_expect("\x02\x02", "\x02\x02");
    /* clock rate of 0 not allowed */
    assert_dap_command_expect("\x11\x00\x00\x00\x00", "\x11\xff");
    /* anything else should be okay */
    assert_dap_command_expect("\x11\xff\xff\xff\xff", "\x11\x00");

    /* make sure tck/swclk actually switches at 100 KHz */
    dap_emul_start();
    assert_dap_command_expect("\x11\xa0\x86\x01\x00", "\x11\x00");
    assert_dap_command_expect("\x12\x10\xab\xcd", "\x12\x00");
    assert_dap_emul_clk_cycles(16);
    assert_dap_emul_clk_period(10000);
    /* check tms/swdio data */
    assert_dap_emul_tms_swdio_out("\xab\xcd");

    /* check same thing for 20 KHz */
    dap_emul_reset();
    assert_dap_command_expect("\x11\x20\x4e\x00\x00", "\x11\x00");
    assert_dap_command_expect("\x12\x20\x13\x57\x9b\xdf", "\x12\x00");
    assert_dap_emul_clk_cycles(32);
    assert_dap_emul_clk_period(50000);
    /* check tms/swdio data */
    assert_dap_emul_tms_swdio_out("\x13\x57");

    /* sequence length of 256 encoded as '0' */
    dap_emul_reset();
    assert_dap_command_expect(
        "\x12\x00"
        "\x00\x00\x00\x00\x00\x00\x00\x00\x00\x00\x00\x00\x00\x00\x00\x00"
        "\x00\x00\x00\x00\x00\x00\x00\x00\x00\x00\x00\x00\x00\x00\x00\x00",
        "\x12\x00"
    );
    assert_dap_emul_clk_cycles(256);
    
    /* incomplete command request */
    assert_dap_command_expect("\x11\x00\x00", "\xff");
    assert_dap_command_expect("\x12", "\xff");
    assert_dap_command_expect("\x12\x10", "\xff");
}

ZTEST(dap, test_atomic) {
    /* two copies of vendor info */
    assert_dap_command_expect(
        "\x7f\x02\x00\x01\x00\x01",
        "\x7f\x02\x00\x0b" "Nick Kraus\0" "\x00\x0b" "Nick Kraus\0"
    );

    /* same as above, but with a 60,000 uS delay, ensure it is taken */
    uint32_t start = k_uptime_get_32();
    assert_dap_command_expect(
        "\x7f\x03\x00\x01\x09\x60\xea\x00\x01",
        "\x7f\x03\x00\x0b" "Nick Kraus\0" "\x09\x00\x00\x0b" "Nick Kraus\0"
    );
    uint32_t elapsed = k_uptime_get_32() - start;
    zassert_between_inclusive(elapsed, 59, 61);

    /* queued commands will have no responses until the next non-queued command */
    assert_dap_command_expect("\x7e\x01\x09\xff\x00", "");
    assert_dap_command_expect("\x7e\x02\x00\x01\x09\xff\x00", "");
    /* now all three responses should come */
    assert_dap_command_expect(
        "\x00\x02",
        "\x7f\x01\x09\x00\x7f\x02\x00\x0b" "Nick Kraus\0" "\x09\x00\x00\x17" "RICEProbe IO CMSIS-DAP\0"
    );

    /* incomplete command request */
    assert_dap_command_expect("\x7f", "\xff");
}
```

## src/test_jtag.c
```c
#include <zephyr/ztest.h>

#include "dap_io.h"
#include "dap_emul.h"
#include "dap_transport.h"
#include "util/gpio.h"

ZTEST(dap, test_jtag_sequence) {
    /* start in JTAG mode */
    assert_gpio_emul_input_set(dap_io_vtref, 1);
    assert_dap_command_expect("\x02\x02", "\x02\x02");
    /* set tck clock frequency */
    assert_dap_command_expect("\x11\x20\x4e\x00\x00", "\x11\x00");

    /* 1 sequence: no tdo capture, tms = 1, 32 cycles */
    dap_emul_start();
    assert_dap_command_expect("\x14\x01\x60\x13\x57\x9b\xdf", "\x14\x00");
    assert_dap_emul_clk_cycles(32);
    assert_dap_emul_tms_swdio_out("\xff\xff");
    assert_dap_emul_tdi_out("\x13\x57\x9b\xdf");

    /* 2 sequences:
     *      1: tdo capture, tms = 0, 8 cycles
     *      2: no tdo capture, tms = 1, 8 cycles */
    dap_emul_reset();
    dap_emul_set_tdo_in("\x39\x00", 2);
    assert_dap_command_expect("\x14\x02\x88\x55\x48\xaa", "\x14\x00\x39");
    assert_dap_emul_clk_cycles(16);
    assert_dap_emul_tms_swdio_out("\x00\xff");
    assert_dap_emul_tdi_out("\x55\xaa");

    /* sequence length of 64 encoded as '0' */
    dap_emul_reset();
    assert_dap_command_expect(
        "\x14\x01\x00\x00\x00\x00\x00\x00\x00\x00\x00\x00\x00\x00\x00\x00\x00\x00\x00",
        "\x14\x00"
    );
    assert_dap_emul_clk_cycles(64);

    /* if we are configured as something other than JTAG, make sure we process all command
     * data and can run further commands successfully */
    assert_dap_command_expect("\x02\x01", "\x02\x01");
    assert_dap_command_expect("\x14\x01\x60\x13\x57\x9b\xdf", "\x14\xff");
    assert_dap_command_expect("\x02\x02", "\x02\x02");

    /* incomplete command request */
    assert_dap_command_expect("\x14", "\xff");
    assert_dap_command_expect("\x14\x01\x88", "\xff");
    assert_dap_command_expect("\x14\x02\x88\x55", "\xff");
}

ZTEST(dap, test_jtag_configure_idcode) {
    /* start in JTAG mode */
    assert_gpio_emul_input_set(dap_io_vtref, 1);
    assert_dap_command_expect("\x02\x02", "\x02\x02");
    /* set tck clock frequency */
    assert_dap_command_expect("\x11\x20\x4e\x00\x00", "\x11\x00");

    /* only support 4 devices in the jtag chain, more will be an error */
    assert_dap_command_expect("\x15\x05\x01\x01\x01\x01\x01", "\x15\xff");

    /* two devices in chain, first 4 bits, second 5 bits */
    assert_dap_command_expect("\x15\x02\x04\x05", "\x15\x00");
    /* idcode index must be within configured jtag tap, this should error */
    assert_dap_command_expect("\x16\x02", "\x16\xff");
    /* also can't get idcode when probe is swd configured */
    assert_dap_command_expect("\x02\x01", "\x02\x01");
    assert_dap_command_expect("\x16\x01", "\x16\xff");
    assert_dap_command_expect("\x02\x02", "\x02\x02");

    /* now actually acquire an emulated idcode */
    dap_emul_start();
    dap_emul_set_tdo_in("\x00\x00\x00\x12\x34\x56\x78\x00", 8);
    /* 6 extra clock cycles to byte-align the tdo values above */
    assert_dap_command_expect("\x14\x01\x06\x00", "\x14\x00");
    assert_dap_command_expect("\x16\x00", "\x16\x00\x12\x34\x56\x78");
    assert_dap_emul_clk_cycles(58);
    assert_dap_emul_tms_swdio_out("\xc0\x00\x2c\x00\x00\x00\x80\x01");

    /* idcode for further device indexes require extra */
    dap_emul_reset();
    dap_emul_set_tdo_in("\x00\x00\x00\x12\x34\x56\x78\x00", 8);
    /* 5 extra clock cycles to byte-align the tdo values above */
    assert_dap_command_expect("\x14\x01\x05\x00", "\x14\x00");
    assert_dap_command_expect("\x16\x01", "\x16\x00\x12\x34\x56\x78");
    assert_dap_emul_clk_cycles(58);
    /* shifted one bit from the previous example */
    assert_dap_emul_tms_swdio_out("\x60\x00\x16\x00\x00\x00\x80\x01");

    /* a chain with longer instruction lengths requires more cycles to produce the idcode */
    dap_emul_reset();
    assert_dap_command_expect("\x15\x03\x0a\x0b\x0c", "\x15\x00");
    dap_emul_set_tdo_in("\x00\x00\x00\x00\x00\x00\x12\x34\x56\x78\x00", 11);
    /* 4 extra clock cycles to byte-align the tdo values above */
    assert_dap_command_expect("\x14\x01\x04\x00", "\x14\x00");
    assert_dap_command_expect("\x16\x02", "\x16\x00\x12\x34\x56\x78");
    /* requires 24 cycles more than previous attempt, because additional tap length */
    assert_dap_emul_clk_cycles(82);

    /* incomplete command request */
    assert_dap_command_expect("\x15", "\xff");
    assert_dap_command_expect("\x15\x03\x04\x05", "\xff");
    assert_dap_command_expect("\x16", "\xff");
}
```

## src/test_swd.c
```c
#include <zephyr/ztest.h>

#include "dap_io.h"
#include "dap_emul.h"
#include "dap_transport.h"
#include "util/gpio.h"

ZTEST(dap, test_swd_sequence) {
    /* start in SWD mode */
    assert_gpio_emul_input_set(dap_io_vtref, 1);
    assert_dap_command_expect("\x02\x01", "\x02\x01");
    /* set swclk clock frequency */
    assert_dap_command_expect("\x11\x20\x4e\x00\x00", "\x11\x00");

    /* 2 SWD sequences: 
     *      32 cycles, SWDIO output
     *      64 cycles (encoded as '0'), SWDIO input
     */
    dap_emul_start();
    dap_emul_set_tms_swdio_in("\x02\x13\x24\x35\x46\x57\x68\x79\x8a\x9b\xac\xbd", 12);
    assert_dap_command_expect("\x1d\x02\x20\x12\x34\x56\x78\x80", "\x1d\x00\x46\x57\x68\x79\x8a\x9b\xac\xbd");
    assert_dap_emul_clk_cycles(96);
    assert_dap_emul_tms_swdio_dir("\x00\x00\x00\x00\xff\xff\xff\xff\xff\xff\xff\xff");
    assert_dap_emul_tms_swdio_out("\x12\x34\x56\x78\x46\x57\x68\x79\x8a\x9b\xac\xbd");

    /* 2 SWD sequences: 
     *      7 cycles, SWDIO output
     *      13 cycles, SWDIO input
     */
    dap_emul_reset();
    dap_emul_set_tms_swdio_in("\x00\x19\x08", 3);
    assert_dap_command_expect("\x1d\x02\x07\xff\x8d", "\x1d\x00\x32\x10");
    assert_dap_emul_clk_cycles(20);
    assert_dap_emul_tms_swdio_dir("\x80\xff\x0f");
    assert_dap_emul_tms_swdio_out("\x7f\x19\x08");

    /* if we are configured as something other than SWD, make sure we process all command
     * data and can run further commands successfully */
    assert_dap_command_expect("\x02\x02", "\x02\x02");
    assert_dap_command_expect("\x1d\x02\x07\xff\x8d", "\x1d\xff");
    assert_dap_command_expect("\x02\x01", "\x02\x01");

    /* incomplete command request */
    assert_dap_command_expect("\x1d", "\xff");
    assert_dap_command_expect("\x1d\x01", "\xff");
    assert_dap_command_expect("\x1d\x01\x08", "\xff");
    assert_dap_command_expect("\x1d\x03\x08\xff\x80", "\xff");
}
```
